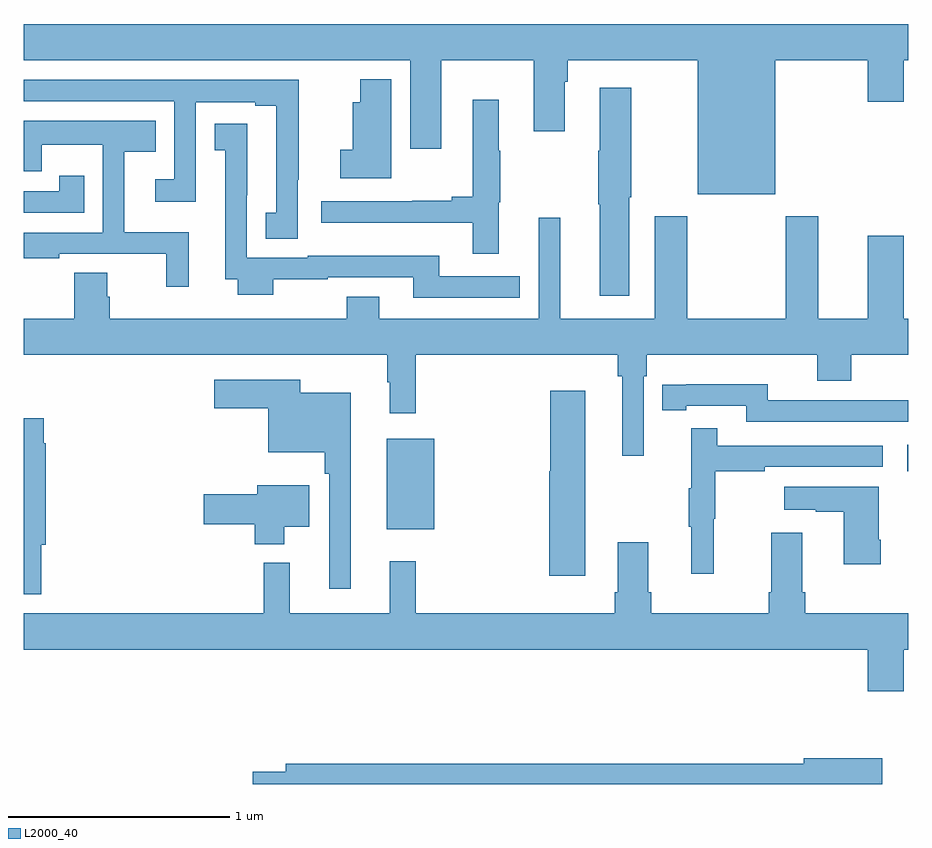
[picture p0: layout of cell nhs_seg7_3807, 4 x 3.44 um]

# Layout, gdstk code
import gdstk
lib = gdstk.Library(unit=1e-6, precision=1e-09)
def R(c, l, rs):  # rectangles x0, y0, x1, y1
    for r in rs: c.add(gdstk.rectangle(r[:2], r[2:], *l))
def P(c, l, *ps):  # polygons
    for p in ps: c.add(gdstk.Polygon(p, *l))
L2000_40 = (2000, 40)

nhs_seg7_3807 = lib.new_cell('nhs_seg7_3807')
R(nhs_seg7_3807, L2000_40, [(354.641,1009.151,354.856,1009.561), (356.994,1009.413,357,1009.534)])
P(nhs_seg7_3807, L2000_40, [(356.398,1011.272),(356.816,1011.272),(356.816,1011.084),(356.98,1011.084),(356.98,1011.272),(357,1011.272),(357,1011.436),(353,1011.436),(353,1011.272),(354.749,1011.272),(354.749,1010.871),(354.889,1010.871),(354.889,1011.272),(355.307,1011.272),(355.307,1010.952),(355.447,1010.952),(355.447,1011.176),(355.46,1011.176),(355.46,1011.272),(356.048,1011.272),(356.048,1010.666),(356.398,1010.666)],
  [(354.661,1011.187),(354.521,1011.187),(354.521,1011.082),(354.488,1011.082),(354.488,1010.868),(354.432,1010.868),(354.432,1010.738),(354.661,1010.738)],
  [(354.24,1010.731),(354.243,1010.731),(354.243,1011.184),(353.785,1011.184),(353.785,1011.183),(353,1011.183),(353,1011.087),(353.682,1011.087),(353.682,1010.734),(353.595,1010.734),(353.595,1010.633),(353.778,1010.633),(353.778,1011.083),(354.047,1011.083),(354.047,1011.066),(354.143,1011.066),(354.143,1010.583),(354.094,1010.583),(354.094,1010.464),(354.24,1010.464)],
  [(355.738,1010.653),(355.746,1010.653),(355.746,1011.148),(355.604,1011.148),(355.604,1010.864),(355.597,1010.864),(355.597,1010.62),(355.604,1010.62),(355.604,1010.208),(355.738,1010.208)],
  [(355.147,1010.631),(355.155,1010.631),(355.155,1010.864),(355.147,1010.864),(355.147,1011.094),(355.031,1011.094),(355.031,1010.654),(354.935,1010.654),(354.935,1010.637),(354.757,1010.637),(354.757,1010.634),(354.345,1010.634),(354.345,1010.537),(355.031,1010.537),(355.031,1010.397),(355.147,1010.397)],
  [(353.746,1010.494),(353.455,1010.494),(353.455,1010.858),(353.597,1010.858),(353.597,1010.998),(353,1010.998),(353,1010.77),(353.082,1010.77),(353.082,1010.891),(353.358,1010.891),(353.358,1010.493),(353,1010.493),(353,1010.378),(353.161,1010.378),(353.161,1010.397),(353.644,1010.397),(353.644,1010.247),(353.746,1010.247)],
  [(355.244,1010.295),(354.88,1010.295),(354.88,1010.389),(354.285,1010.389),(354.285,1010.379),(354.009,1010.379),(354.009,1010.662),(354.01,1010.662),(354.01,1010.986),(353.863,1010.986),(353.863,1010.865),(353.912,1010.865),(353.912,1010.283),(353.969,1010.283),(353.969,1010.213),(354.129,1010.213),(354.129,1010.282),(354.375,1010.282),(354.375,1010.292),(354.761,1010.292),(354.761,1010.199),(355.244,1010.199)],
  [(353.273,1010.749),(353.16,1010.749),(353.16,1010.679),(353,1010.679),(353,1010.583),(353.273,1010.583)],
  [(355.803,1009.844),(355.817,1009.844),(355.817,1009.94),(356.588,1009.94),(356.588,1009.823),(356.741,1009.823),(356.741,1009.94),(357,1009.94),(357,1010.104),(356.98,1010.104),(356.98,1010.479),(356.816,1010.479),(356.816,1010.104),(356.593,1010.104),(356.593,1010.566),(356.446,1010.566),(356.446,1010.104),(356.001,1010.104),(356.001,1010.566),(355.853,1010.566),(355.853,1010.104),(355.426,1010.104),(355.426,1010.56),(355.329,1010.56),(355.329,1010.104),(354.607,1010.104),(354.607,1010.203),(354.46,1010.203),(354.46,1010.104),(353.39,1010.104),(353.39,1010.202),(353.377,1010.202),(353.377,1010.312),(353.23,1010.312),(353.23,1010.104),(353,1010.104),(353,1009.94),(354.645,1009.94),(354.645,1009.817),(354.656,1009.817),(354.656,1009.677),(354.773,1009.677),(354.773,1009.94),(355.687,1009.94),(355.687,1009.844),(355.706,1009.844),(355.706,1009.485),(355.803,1009.485)],
  [(354.478,1009.768),(354.25,1009.768),(354.25,1009.828),(353.862,1009.828),(353.862,1009.699),(354.107,1009.699),(354.107,1009.499),(354.361,1009.499),(354.361,1009.403),(354.381,1009.403),(354.381,1008.882),(354.478,1008.882)],
  [(357,1009.736),(356.824,1009.736),(356.824,1009.734),(356.364,1009.734),(356.364,1009.807),(355.996,1009.807),(355.996,1009.806),(355.888,1009.806),(355.888,1009.69),(355.996,1009.69),(355.996,1009.71),(356.268,1009.71),(356.268,1009.638),(357,1009.638)],
  [(355.54,1009.777),(355.382,1009.777),(355.382,1009.413),(355.376,1009.413),(355.376,1008.942),(355.54,1008.942)],
  [(353.08,1009.082),(353.099,1009.082),(353.099,1009.541),(353.092,1009.541),(353.092,1009.654),(353,1009.654),(353,1008.858),(353.08,1008.858)],
  [(356.12,1009.2),(356.128,1009.2),(356.128,1009.414),(356.351,1009.414),(356.351,1009.434),(356.884,1009.434),(356.884,1009.53),(356.135,1009.53),(356.135,1009.609),(356.018,1009.609),(356.018,1009.337),(356.007,1009.337),(356.007,1009.163),(356.018,1009.163),(356.018,1008.951),(356.12,1008.951)],
  [(354.178,1009.163),(354.292,1009.163),(354.292,1009.351),(354.056,1009.351),(354.056,1009.311),(353.814,1009.311),(353.814,1009.174),(354.044,1009.174),(354.044,1009.085),(354.178,1009.085)],
  [(356.874,1009.105),(356.866,1009.105),(356.866,1009.345),(356.439,1009.345),(356.439,1009.241),(356.582,1009.241),(356.582,1009.231),(356.708,1009.231),(356.708,1008.993),(356.874,1008.993)],
  [(356.98,1008.608),(357,1008.608),(357,1008.772),(356.534,1008.772),(356.534,1008.868),(356.521,1008.868),(356.521,1009.135),(356.381,1009.135),(356.381,1008.868),(356.369,1008.868),(356.369,1008.772),(355.838,1008.772),(355.838,1008.868),(355.825,1008.868),(355.825,1009.093),(355.685,1009.093),(355.685,1008.868),(355.673,1008.868),(355.673,1008.772),(354.773,1008.772),(354.773,1009.006),(354.656,1009.006),(354.656,1008.772),(354.203,1008.772),(354.203,1009),(354.085,1009),(354.085,1008.772),(353,1008.772),(353,1008.608),(356.816,1008.608),(356.816,1008.42),(356.98,1008.42)],
  [(356.881,1008.116),(356.528,1008.116),(356.528,1008.092),(354.185,1008.092),(354.185,1008.056),(354.036,1008.056),(354.036,1008),(356.881,1008)])

lib.write_gds('nhs_seg7_3807.gds')
